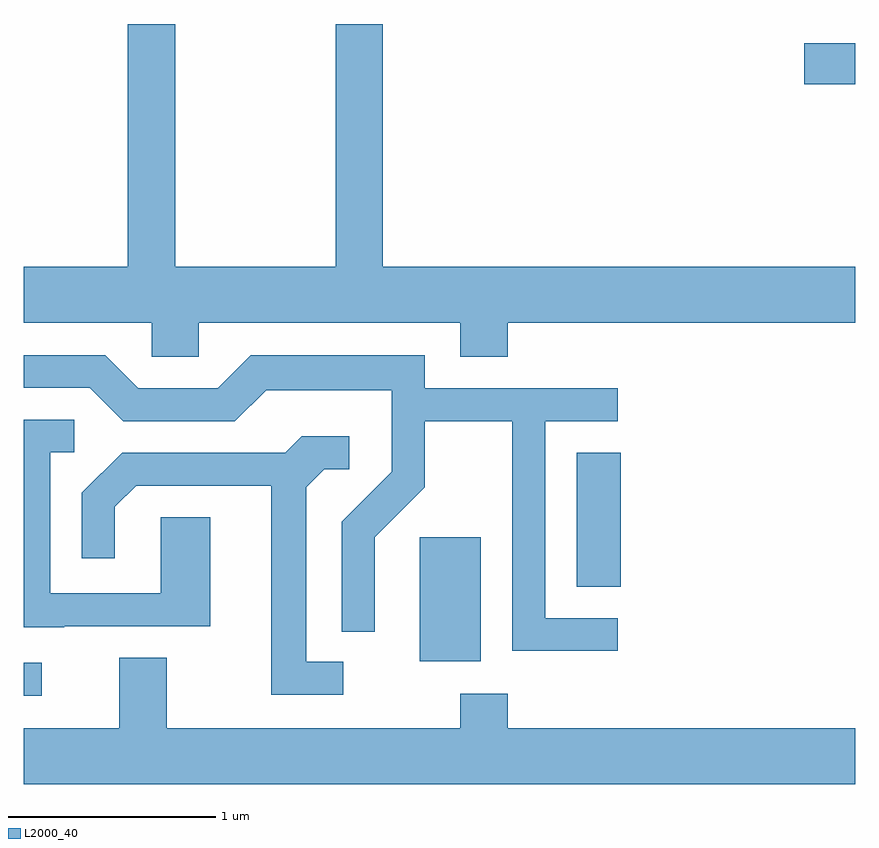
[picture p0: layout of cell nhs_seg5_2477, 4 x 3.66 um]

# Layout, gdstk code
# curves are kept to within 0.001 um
import gdstk
lib = gdstk.Library(unit=1e-6, precision=1e-09)
def R(c, l, rs):  # rectangles x0, y0, x1, y1
    for r in rs: c.add(gdstk.rectangle(r[:2], r[2:], *l))
def P(c, l, *ps):  # polygons
    for p in ps: c.add(gdstk.Polygon(p, *l))
L2000_40 = (2000, 40)

nhs_seg5_2477 = lib.new_cell('nhs_seg5_2477')
R(nhs_seg5_2477, L2000_40, [(259.611,1392.841,259.698,1392.999), (261.516,1393.006,261.809,1393.604), (262.271,1393.366,262.484,1394.009), (263.366,1395.781,263.611,1395.979)])
P(nhs_seg5_2477, L2000_40, [(260.454,1394.636),(261.711,1394.636),(261.711,1394.471),(261.939,1394.471),(261.939,1394.636),(263.611,1394.636),(263.611,1394.904),(261.339,1394.904),(261.339,1396.072),(261.111,1396.072),(261.111,1394.904),(260.339,1394.904),(260.339,1396.072),(260.111,1396.072),(260.111,1394.904),(259.611,1394.904),(259.611,1394.636),(260.226,1394.636),(260.226,1394.471),(260.454,1394.471)],
  [(262.468,1393.214),(262.119,1393.214),(262.119,1394.161),(262.468,1394.161),(262.468,1394.319),(261.539,1394.319),(261.539,1394.479),(260.704,1394.479),(260.544,1394.319),(260.162,1394.319),(260.002,1394.479),(259.611,1394.479),(259.611,1394.321),(259.929,1394.321),(260.089,1394.161),(260.627,1394.161),(260.777,1394.311),(261.381,1394.311),(261.381,1393.917),(261.141,1393.677),(261.141,1393.148),(261.299,1393.148),(261.299,1393.604),(261.539,1393.844),(261.539,1394.161),(261.961,1394.161),(261.961,1393.056),(262.468,1393.056)],
  [(259.805,1393.176),(260.509,1393.176),(260.509,1393.699),(260.271,1393.699),(260.271,1393.334),(259.739,1393.334),(259.739,1394.011),(259.853,1394.011),(259.853,1394.169),(259.611,1394.169),(259.611,1393.171),(259.805,1393.171)],
  [(261.147,1393.004),(260.969,1393.004),(260.969,1393.844),(261.057,1393.931),(261.178,1393.931),(261.178,1394.089),(260.949,1394.089),(260.868,1394.009),(260.084,1394.009),(259.891,1393.817),(259.891,1393.503),(260.049,1393.503),(260.049,1393.749),(260.152,1393.851),(260.801,1393.851),(260.801,1392.846),(261.147,1392.846)],
  [(263.611,1392.684),(261.939,1392.684),(261.939,1392.849),(261.711,1392.849),(261.711,1392.684),(260.299,1392.684),(260.299,1393.024),(260.071,1393.024),(260.071,1392.684),(259.611,1392.684),(259.611,1392.416),(263.611,1392.416)])

lib.write_gds('nhs_seg5_2477.gds')
